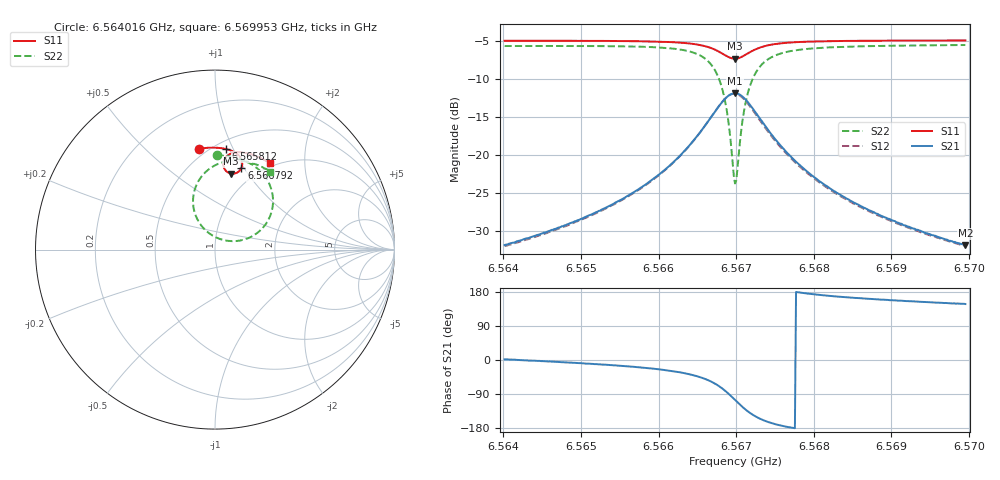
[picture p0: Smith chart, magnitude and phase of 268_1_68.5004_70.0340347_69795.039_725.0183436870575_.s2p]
#  HZ  S  RI  R  50.00
! Rohde & Schwarz Vector Network Analyzer
! Rohde-Schwarz,ZNB20-2Port,1311601062101988,3.16
! Created: UTC 3/20/2024, 5:00:38 PM
! freq[Hz]  re:S11  im:S11  re:S21  im:S21  re:S12  im:S12  re:S22  im:S22
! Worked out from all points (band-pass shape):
!   401 points, 6.564016 GHz to 6.569953 GHz, reference 50 ohm
!   highest |S21| = -11.82 dB at 6.566985 GHz (marker M1); lowest = -31.8 dB at 6.569953 GHz (marker M2)
!   |S21| within 3 dB of the highest: 6.566687 GHz to 6.567281 GHz (593.8 kHz wide, 0.00904 % of centre)
!   lowest |S11| = -7.3 dB at 6.566985 GHz (marker M3), VSWR 2.53, Z = 40.2 + j41.9 ohm
!   |S11| at or under -10 dB: nowhere
!   |S22| runs from -23.7 to -5.5 dB; largest |S21 - S12| = 0.012
!   S11 on the Smith chart (normalised r, x): 6.564016 GHz: 0.45, +0.75; 6.565812 GHz: 0.57, +0.94; 6.566792 GHz: 0.83, +0.97; 6.569953 GHz: 0.95, +1.35
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6.5640164e9  -0.0888 0.5621  0.0256 0.000695  0.0252 0.000263  0.0097 0.5247
6.5650108e9  -0.00881 0.5679  0.0378 -0.00574  0.0373 -0.00628  0.0997 0.5154
6.5658122e9  0.0627 0.5602  0.0592 -0.0221  0.0583 -0.0228  0.1934 0.4811
6.5660051e9  0.0819 0.5547  0.0676 -0.0311  0.0667 -0.0319  0.2224 0.4627
6.5663167e9  0.1159 0.5382  0.0864 -0.0586  0.0851 -0.0598  0.2776 0.4082
6.5665542e9  0.1423 0.5108  0.1002 -0.1062  0.098 -0.1081  0.3186 0.3165
6.5666878e9  0.1514 0.4832  0.0962 -0.1542  0.0924 -0.1569  0.3185 0.2246
6.5667916e9  0.1468 0.4545  0.0707 -0.2035  0.0645 -0.2062  0.2752 0.132
6.5668807e9  0.1271 0.4312  0.0202 -0.2415  0.0108 -0.2419  0.1837 0.0632
6.5669549e9  0.0995 0.4227  -0.0416 -0.2519  -0.0519 -0.2486  0.0737 0.0486
6.5669846e9  0.0876 0.4237  -0.0676 -0.2475  -0.0777 -0.2424  0.0283 0.0588
6.5670143e9  0.0761 0.4276  -0.0924 -0.238  -0.1015 -0.231  -0.0138 0.0784
6.5670736e9  0.0578 0.4422  -0.1325 -0.2069  -0.1388 -0.1976  -0.0789 0.1374
6.5671181e9  0.0496 0.4566  -0.1519 -0.178  -0.1558 -0.1681  -0.1078 0.1903
6.5671775e9  0.0461 0.4762  -0.1641 -0.1393  -0.1652 -0.1298  -0.1221 0.2593
6.5672665e9  0.0519 0.5009  -0.1626 -0.0906  -0.1611 -0.083  -0.1099 0.3431
6.5673853e9  0.0684 0.5224  -0.1452 -0.0481  -0.1426 -0.0428  -0.0688 0.4147
6.5675337e9  0.0914 0.5359  -0.1205 -0.0192  -0.1181 -0.0159  -0.0148 0.4611
6.5679789e9  0.1478 0.5421  -0.073 0.00799  -0.0714 0.00893  0.0989 0.496
6.5684983e9  0.1974 0.5322  -0.0476 0.0132  -0.0464 0.0137  0.1769 0.4898
6.5689732e9  0.2363 0.5182  -0.0353 0.0143  -0.0344 0.0144  0.2279 0.4749
6.5699527e9  0.3066 0.4818  -0.0216 0.0137  -0.0212 0.0137  0.3084 0.4346
